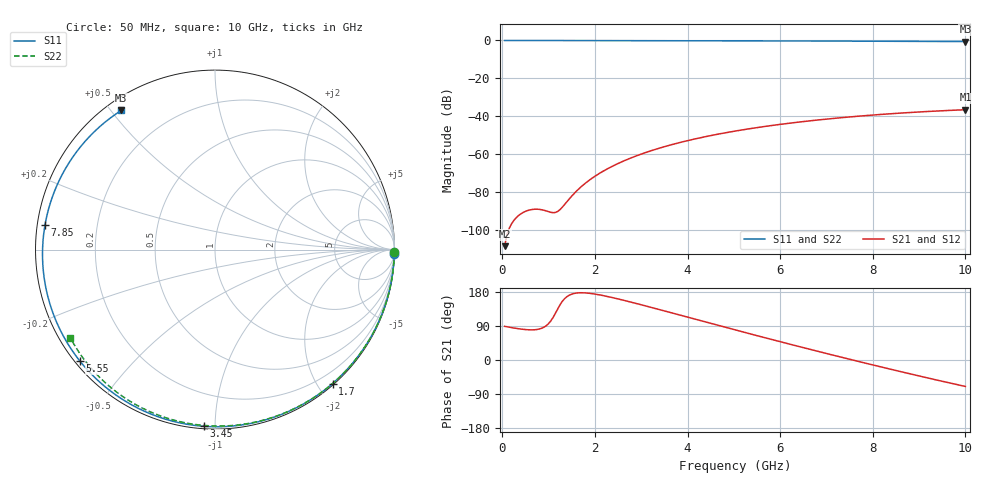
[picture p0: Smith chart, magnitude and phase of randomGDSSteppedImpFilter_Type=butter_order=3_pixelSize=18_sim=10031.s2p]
! freq	dB(S11)	phase(S11)	dB(S12)	phase(S12)
!  dB(S21)	phase(S21)	dB(S22)	phase(S22)
!S-par simulation data
#  GHz  S  DB  R 50
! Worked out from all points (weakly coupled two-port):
!   200 points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, 50 MHz to 10 GHz, reference 50 ohm
!   highest |S21| = -36.58 dB at 10 GHz (marker M1); lowest = -108.6 dB at 50 MHz (marker M2)
!   lowest |S11| = -0.6 dB at 10 GHz (marker M3), VSWR 29.67, Z = 2.16 + j26.6 ohm
!   |S11| at or under -10 dB: nowhere
!   |S22| runs from -0.5 to 0.0 dB; largest |S21 - S12| = 0
!   S11 on the Smith chart (normalised r, x): 50 MHz: 1, -80; 1.7 GHz: 0.02, -2.21; 3.45 GHz: 0.01, -0.94; 5.55 GHz: 0.01, -0.36; 7.85 GHz: 0.02, +0.07; 10 GHz: 0.04, +0.53
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0.05  -0.00 -1.4  -108.63 88.8  -108.63 88.8  -0.00 -0.8
0.4  -0.02 -11.7  -91.57 81.6  -91.57 81.6  -0.01 -6.9
0.75  -0.03 -21.9  -89.10 80.6  -89.10 80.6  -0.02 -12.9
1.55  -0.06 -44.6  -80.83 175.6  -80.83 175.6  -0.03 -26.4
1.6  -0.06 -46.0  -79.59 176.6  -79.59 176.6  -0.03 -27.2
1.7  -0.06 -48.7  -77.30 177.4  -77.30 177.4  -0.04 -28.9
1.75  -0.06 -50.1  -76.25 177.3  -76.25 177.3  -0.04 -29.7
2.05  -0.07 -58.2  -70.92 173.0  -70.92 173.0  -0.04 -34.7
2.45  -0.09 -68.7  -65.55 162.7  -65.55 162.7  -0.05 -41.2
2.9  -0.10 -80.2  -60.89 148.9  -60.89 148.9  -0.06 -48.5
3.4  -0.12 -92.5  -56.81 132.8  -56.81 132.8  -0.08 -56.4
3.45  -0.12 -93.7  -56.45 131.2  -56.45 131.2  -0.08 -57.2
4.2  -0.15 -111.2  -51.78 106.5  -51.78 106.5  -0.10 -68.8
5.05  -0.19 -130.0  -47.76 78.7  -47.76 78.7  -0.13 -81.4
5.55  -0.21 -140.6  -45.83 62.6  -45.83 62.6  -0.15 -88.7
6.15  -0.25 -153.1  -43.85 43.6  -43.85 43.6  -0.17 -97.2
6.7  -0.29 -164.5  -42.29 26.4  -42.29 26.4  -0.20 -104.8
7.3  -0.34 -176.9  -40.82 8.0  -40.82 8.0  -0.24 -112.9
7.85  -0.38 171.7  -39.67 -8.6  -39.67 -8.6  -0.28 -120.3
8.35  -0.43 161.0  -38.76 -23.4  -38.76 -23.4  -0.33 -126.9
9.15  -0.50 143.5  -37.56 -46.4  -37.56 -46.4  -0.41 -137.4
10  -0.59 124.0  -36.58 -69.9  -36.58 -69.9  -0.50 -148.7
